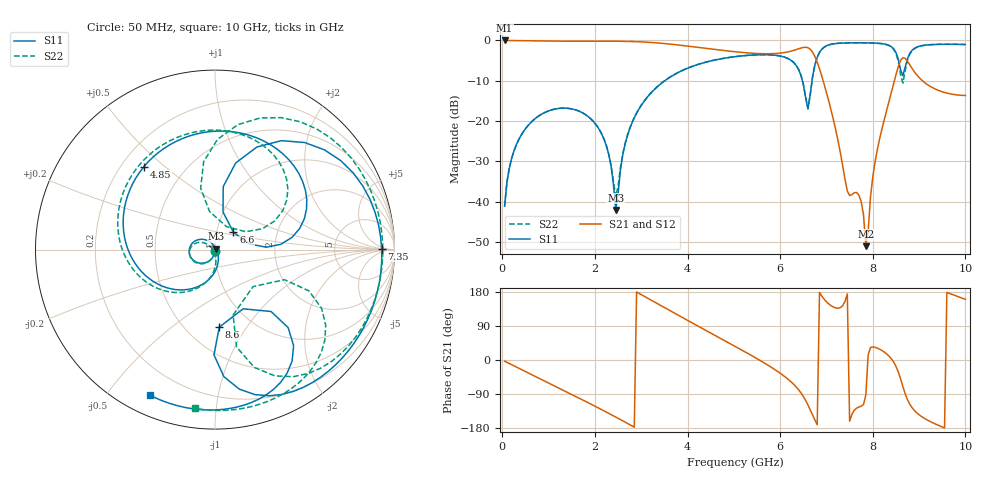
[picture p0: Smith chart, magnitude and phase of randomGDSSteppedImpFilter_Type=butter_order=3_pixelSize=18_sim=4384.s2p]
! freq	dB(S11)	phase(S11)	dB(S12)	phase(S12)
!  dB(S21)	phase(S21)	dB(S22)	phase(S22)
!S-par simulation data
#  GHz  S  DB  R 50
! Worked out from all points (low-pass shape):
!   200 points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, 50 MHz to 10 GHz, reference 50 ohm
!   highest |S21| = -0.01 dB at 50 MHz (marker M1); lowest = -51.1 dB at 7.85 GHz (marker M2)
!   |S21| within 3 dB of the highest: start of sweep to 5.21 GHz; 6.093 GHz to 6.705 GHz (612.6 MHz wide, 9.57 % of centre)
!   lowest |S11| = -42.1 dB at 2.45 GHz (marker M3), VSWR 1.02, Z = 50.6 + j0.565 ohm
!   |S11| at or under -10 dB: start of sweep to 3.509 GHz; 6.48 GHz to 6.689 GHz (208.6 MHz wide, 3.17 % of centre)
!   |S22| runs from -41.1 to -0.6 dB; largest |S21 - S12| = 0
!   S11 on the Smith chart (normalised r, x): 50 MHz: 1.00, -0.02; 4.85 GHz: 0.29, +0.43; 6.6 GHz: 1.20, +0.24; 7.35 GHz: 27, +2; 8.6 GHz: 0.71, -0.76; 10 GHz: 0.08, -0.64
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0.05  -41.13 -92.8  -0.01 -3.1  -0.01 -3.1  -41.13 -92.6
0.55  -21.19 -124.8  -0.08 -33.6  -0.08 -33.6  -21.19 -123.0
1.75  -18.08 159.3  -0.20 -106.2  -0.20 -106.2  -18.08 167.6
2.25  -26.24 121.7  -0.18 -137.6  -0.18 -137.6  -26.19 145.4
2.45  -42.10 45.4  -0.19 -150.6  -0.19 -150.6  -38.80 -160.0
2.75  -21.97 -78.4  -0.25 -170.5  -0.25 -170.5  -21.85 -87.4
3.4  -10.97 -127.6  -0.67 145.4  -0.67 145.4  -10.94 -124.2
4.1  -6.46 -177.2  -1.54 97.9  -1.54 97.9  -6.43 -168.5
4.85  -4.32 130.7  -2.59 48.0  -2.59 48.0  -4.30 144.4
5.05  -4.00 116.7  -2.84 34.6  -2.84 34.6  -3.98 131.7
6.05  -4.00 42.1  -3.08 -39.2  -3.08 -39.2  -3.99 62.1
6.6  -17.01 43.1  -1.81 -118.5  -1.81 -118.5  -16.88 63.1
6.7  -9.02 82.6  -2.90 -145.0  -2.90 -145.0  -9.07 103.1
6.95  -1.67 42.3  -10.86 160.5  -10.86 160.5  -1.69 63.3
7.35  -0.64 0.3  -31.08 143.4  -31.08 143.4  -0.65 20.8
7.75  -0.58 -27.8  -39.99 -121.8  -39.99 -121.8  -0.58 -8.2
7.85  -0.60 -34.2  -51.05 -92.7  -51.05 -92.7  -0.60 -15.0
8.05  -0.66 -47.0  -30.12 33.5  -30.12 33.5  -0.67 -28.5
8.35  -1.22 -69.6  -15.14 10.3  -15.14 10.3  -1.26 -52.9
8.6  -7.28 -86.9  -4.99 -49.7  -4.99 -49.7  -8.45 -74.5
8.9  -1.97 -59.7  -7.81 -133.4  -7.81 -133.4  -2.03 -39.3
10  -1.03 -114.2  -13.66 160.1  -13.66 160.1  -1.00 -97.1
